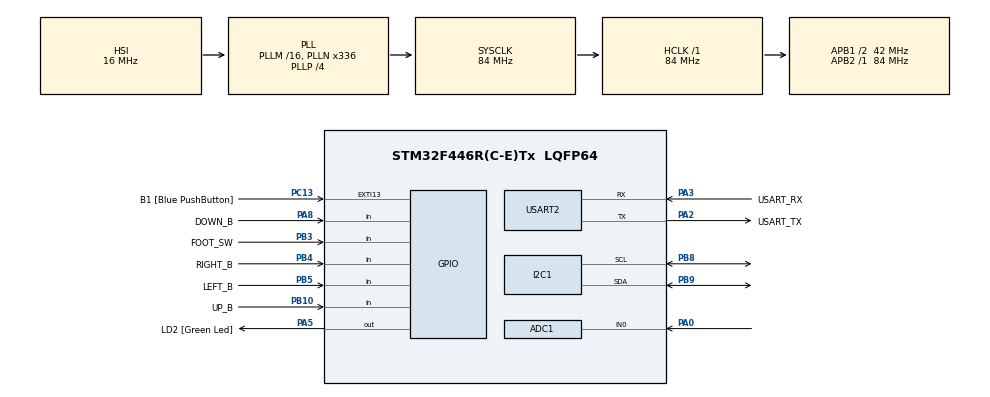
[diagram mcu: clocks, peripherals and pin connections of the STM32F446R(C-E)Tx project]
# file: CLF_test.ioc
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ADC1.Channel-0\#ChannelRegularConversion=ADC_CHANNEL_0
ADC1.ContinuousConvMode=ENABLE
ADC1.NbrOfConversionFlag=1
ADC1.Rank-0\#ChannelRegularConversion=1
ADC1.SamplingTime-0\#ChannelRegularConversion=ADC_SAMPLETIME_480CYCLES
ADC1.ScanConvMode=ENABLE
ADC1.master=1
Dma.ADC1.0.Direction=DMA_PERIPH_TO_MEMORY
Dma.ADC1.0.FIFOMode=DMA_FIFOMODE_DISABLE
Dma.ADC1.0.Instance=DMA2_Stream0
Dma.ADC1.0.MemDataAlignment=DMA_MDATAALIGN_HALFWORD
Dma.ADC1.0.MemInc=DMA_MINC_ENABLE
Dma.ADC1.0.Mode=DMA_CIRCULAR
Dma.ADC1.0.PeriphDataAlignment=DMA_PDATAALIGN_HALFWORD
Dma.ADC1.0.PeriphInc=DMA_PINC_DISABLE
Dma.ADC1.0.Priority=DMA_PRIORITY_LOW
Dma.Request0=ADC1
Mcu.Family=STM32F4
Mcu.Name=STM32F446R(C-E)Tx
Mcu.Package=LQFP64
NVIC.DMA2_Stream0_IRQn=true\:0\:0\:false\:false\:true\:false\:true
NVIC.PriorityGroup=NVIC_PRIORITYGROUP_0
NVIC.TIM2_IRQn=true\:0\:0\:false\:false\:true\:true\:true
PA0-WKUP.Signal=ADCx_IN0
PA13.GPIO_Label=TMS
PA13.Mode=Serial_Wire
PA13.Signal=SYS_JTMS-SWDIO
PA14.GPIO_Label=TCK
PA14.Mode=Serial_Wire
PA14.Signal=SYS_JTCK-SWCLK
PA2.GPIO_Label=USART_TX
PA2.Mode=Asynchronous
PA2.Signal=USART2_TX
PA3.GPIO_Label=USART_RX
PA3.Mode=Asynchronous
PA3.Signal=USART2_RX
PA5.GPIO_Label=LD2 [Green Led]
PA5.Signal=GPIO_Output
PA8.GPIO_Label=DOWN_B
PA8.GPIO_PuPd=GPIO_PULLUP
PA8.Signal=GPIO_Input
PB10.GPIO_Label=UP_B
PB10.GPIO_PuPd=GPIO_PULLUP
PB10.Signal=GPIO_Input
PB3.GPIO_Label=FOOT_SW
PB3.GPIO_PuPd=GPIO_PULLUP
PB3.Signal=GPIO_Input
PB4.GPIO_Label=RIGHT_B
PB4.GPIO_PuPd=GPIO_PULLUP
PB4.Signal=GPIO_Input
PB5.GPIO_Label=LEFT_B
PB5.GPIO_PuPd=GPIO_PULLUP
PB5.Signal=GPIO_Input
PB8.Mode=I2C
PB8.Signal=I2C1_SCL
PB9.Mode=I2C
PB9.Signal=I2C1_SDA
PC13.GPIO_Label=B1 [Blue PushButton]
PC13.GPIO_ModeDefaultEXTI=GPIO_MODE_IT_FALLING
PC13.Signal=GPXTI13
PC14-OSC32_IN.Mode=LSE-External-Oscillator
PC14-OSC32_IN.Signal=RCC_OSC32_IN
PC15-OSC32_OUT.Mode=LSE-External-Oscillator
PC15-OSC32_OUT.Signal=RCC_OSC32_OUT
PH0-OSC_IN.Mode=HSE-External-Oscillator
PH0-OSC_IN.Signal=RCC_OSC_IN
PH1-OSC_OUT.Mode=HSE-External-Oscillator
PH1-OSC_OUT.Signal=RCC_OSC_OUT
ProjectManager.HeapSize=0x200
ProjectManager.StackSize=0x400
ProjectManager.TargetToolchain=STM32CubeIDE
RCC.48MHZClocksFreq_Value=84000000
RCC.AHBFreq_Value=84000000
RCC.APB1CLKDivider=RCC_HCLK_DIV2
RCC.APB1Freq_Value=42000000
RCC.APB1TimFreq_Value=84000000
RCC.APB2Freq_Value=84000000
RCC.APB2TimFreq_Value=84000000
RCC.CortexFreq_Value=84000000
RCC.FLatency-AdvancedSettings=FLASH_LATENCY_2
RCC.HCLKFreq_Value=84000000
RCC.HSE_VALUE=8000000
RCC.HSI_VALUE=16000000
RCC.PLLN=336
RCC.PLLP=RCC_PLLP_DIV4
RCC.SYSCLKFreq_VALUE=84000000
RCC.SYSCLKSource=RCC_SYSCLKSOURCE_PLLCLK
RCC.USBFreq_Value=168000000
RCC.VCOOutputFreq_Value=336000000
SH.ADCx_IN0.0=ADC1_IN0,IN0
TIM2.Period=999
TIM2.Prescaler=83
USART2.VirtualMode=VM_ASYNC
VP_TIM2_VS_ClockSourceINT.Mode=Internal
board=NUCLEO-F446RE

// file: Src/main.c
/* USER CODE BEGIN Header */
/**
  ******************************************************************************
  * @file           : main.c
  * @brief          : Main program body
  ******************************************************************************
  * @attention
  *
  * <h2><center>&copy; Copyright (c) 2019 STMicroelectronics.
  * All rights reserved.</center></h2>
  *
  * This software component is licensed by ST under BSD 3-Clause license,
  * the "License"; You may not use this file except in compliance with the
  * License. You may obtain a copy of the License at:
  *                        opensource.org/licenses/BSD-3-Clause
  *
  ******************************************************************************
  */
/* USER CODE END Header */

#include "main.h"

/* USER CODE BEGIN Includes */
#include <stdio.h>
#include <math.h>
#include "ssd1306.h"
#include "fonts.h"
/* USER CODE END Includes */

ADC_HandleTypeDef hadc1;
DMA_HandleTypeDef hdma_adc1;

I2C_HandleTypeDef hi2c1;

TIM_HandleTypeDef htim2;

UART_HandleTypeDef huart2;

/* USER CODE BEGIN PV */
uint16_t adcValue[2];
long tim2_count=0;
float NormalizeParameter[2];
float threshold = 70;
float duration = 10;
float phase = 0;
float phase_ms = 0;
float inactive_time = 0;
float mode = 2;
/* USER CODE END PV */

void SystemClock_Config(void);
static void MX_GPIO_Init(void);
static void MX_DMA_Init(void);
static void MX_ADC1_Init(void);
static void MX_I2C1_Init(void);
static void MX_TIM2_Init(void);
static void MX_USART2_UART_Init(void);
/* USER CODE BEGIN PFP */
void HAL_TIM_PeriodElapsedCallback(TIM_HandleTypeDef *htim);
void SetUpNormalizeParameter(float NormalizeParameter[2]);
void DrawParameter(int count);
void UserSetUp(void);
/* USER CODE END PFP */

int main(void)
{
  /* USER CODE BEGIN 1 */
	  char buf[32] = {};
  /* USER CODE END 1 */

  /* MCU Configuration--------------------------------------------------------*/

  /* Reset of all peripherals, Initializes the Flash interface and the Systick. */
  HAL_Init();

  /* Configure the system clock */
  SystemClock_Config();

  /* Initialize all configured peripherals */
  MX_GPIO_Init();
  MX_DMA_Init();
  MX_ADC1_Init();
  MX_I2C1_Init();
  MX_TIM2_Init();
  MX_USART2_UART_Init();
  /* USER CODE BEGIN 2 */
  ssd1306_Init();

  HAL_ADC_Start_DMA(&hadc1,(uint32_t *)adcValue,2);

  STARTUP_LABEL:
  UserSetUp();

  SetUpNormalizeParameter(NormalizeParameter);
  RESTART_LABEL:

/*------------Draw LCD BEGIN----------*/
  sprintf(buf, "ave=%d sd=%d", (int)(NormalizeParameter[0]),(int)(NormalizeParameter[1]));
  HAL_UART_Transmit(&huart2, (uint8_t*)buf, sizeof(buf), 0xFFF);

  ssd1306_Fill(White);

  ssd1306_SetCursor(0,0);
  ssd1306_WriteString(buf,Font_7x10,Black);

  sprintf(buf, "Waiting for start");
  ssd1306_SetCursor(0,12);
  ssd1306_WriteString(buf,Font_7x10,Black);

  ssd1306_UpdateScreen();
  /*------------Draw LCD END---------*/

  while(1){
	  if(HAL_GPIO_ReadPin(GPIOB, FOOT_SW_Pin) == 1){
		  if(HAL_GPIO_ReadPin(GPIOB, FOOT_SW_Pin) == 0){
			  ssd1306_Fill(White);
			  sprintf(buf, "RUNNING");
			  ssd1306_SetCursor(0,0);
			  ssd1306_WriteString(buf,Font_7x10,Black);
			  ssd1306_UpdateScreen();
			  HAL_Delay(300);
			  break;
		  }
	  }
  }

  HAL_TIM_Base_Start_IT(&htim2);
  /* USER CODE END 2 */

  /* Infinite loop */
  while (1)
  {

    /* USER CODE BEGIN 3 */
	  if(HAL_GPIO_ReadPin(GPIOB, FOOT_SW_Pin) == 1){
		  if(HAL_GPIO_ReadPin(GPIOB, FOOT_SW_Pin) == 0){
			  HAL_TIM_Base_Stop_IT(&htim2); //stop timer interrupt
			  HAL_Delay(300);
			  HAL_GPIO_WritePin(LD2_GPIO_Port,LD2_Pin,RESET);
			  goto RESTART_LABEL;
		  }
	  }else if(HAL_GPIO_ReadPin(GPIOB, RIGHT_B_Pin) == 0){
		  HAL_TIM_Base_Stop_IT(&htim2); //stop timer interrupt
		  HAL_Delay(300);
		  HAL_GPIO_WritePin(LD2_GPIO_Port,LD2_Pin,RESET);
		  goto STARTUP_LABEL;
	 }
  }
  /* USER CODE END 3 */
}

void SystemClock_Config(void)
{
  RCC_OscInitTypeDef RCC_OscInitStruct = {0};
  RCC_ClkInitTypeDef RCC_ClkInitStruct = {0};

  /** Configure the main internal regulator output voltage
  */
  __HAL_RCC_PWR_CLK_ENABLE();
  __HAL_PWR_VOLTAGESCALING_CONFIG(PWR_REGULATOR_VOLTAGE_SCALE3);
  /** Initializes the CPU, AHB and APB busses clocks
  */
  RCC_OscInitStruct.OscillatorType = RCC_OSCILLATORTYPE_HSI;
  RCC_OscInitStruct.HSIState = RCC_HSI_ON;
  RCC_OscInitStruct.HSICalibrationValue = RCC_HSICALIBRATION_DEFAULT;
  RCC_OscInitStruct.PLL.PLLState = RCC_PLL_ON;
  RCC_OscInitStruct.PLL.PLLSource = RCC_PLLSOURCE_HSI;
  RCC_OscInitStruct.PLL.PLLM = 16;
  RCC_OscInitStruct.PLL.PLLN = 336;
  RCC_OscInitStruct.PLL.PLLP = RCC_PLLP_DIV4;
  RCC_OscInitStruct.PLL.PLLQ = 2;
  RCC_OscInitStruct.PLL.PLLR = 2;
  if (HAL_RCC_OscConfig(&RCC_OscInitStruct) != HAL_OK)
  {
    Error_Handler();
  }
  /** Initializes the CPU, AHB and APB busses clocks
  */
  RCC_ClkInitStruct.ClockType = RCC_CLOCKTYPE_HCLK|RCC_CLOCKTYPE_SYSCLK
                              |RCC_CLOCKTYPE_PCLK1|RCC_CLOCKTYPE_PCLK2;
  RCC_ClkInitStruct.SYSCLKSource = RCC_SYSCLKSOURCE_PLLCLK;
  RCC_ClkInitStruct.AHBCLKDivider = RCC_SYSCLK_DIV1;
  RCC_ClkInitStruct.APB1CLKDivider = RCC_HCLK_DIV2;
  RCC_ClkInitStruct.APB2CLKDivider = RCC_HCLK_DIV1;

  if (HAL_RCC_ClockConfig(&RCC_ClkInitStruct, FLASH_LATENCY_2) != HAL_OK)
  {
    Error_Handler();
  }
}

static void MX_ADC1_Init(void)
{

  ADC_ChannelConfTypeDef sConfig = {0};

  /** Configure the global features of the ADC (Clock, Resolution, Data Alignment and number of conversion)
  */
  hadc1.Instance = ADC1;
  hadc1.Init.ClockPrescaler = ADC_CLOCK_SYNC_PCLK_DIV4;
  hadc1.Init.Resolution = ADC_RESOLUTION_12B;
  hadc1.Init.ScanConvMode = ENABLE;
  hadc1.Init.ContinuousConvMode = ENABLE;
  hadc1.Init.DiscontinuousConvMode = DISABLE;
  hadc1.Init.ExternalTrigConvEdge = ADC_EXTERNALTRIGCONVEDGE_NONE;
  hadc1.Init.ExternalTrigConv = ADC_SOFTWARE_START;
  hadc1.Init.DataAlign = ADC_DATAALIGN_RIGHT;
  hadc1.Init.NbrOfConversion = 1;
  hadc1.Init.DMAContinuousRequests = DISABLE;
  hadc1.Init.EOCSelection = ADC_EOC_SINGLE_CONV;
  if (HAL_ADC_Init(&hadc1) != HAL_OK)
  {
    Error_Handler();
  }
  /** Configure for the selected ADC regular channel its corresponding rank in the sequencer and its sample time.
  */
  sConfig.Channel = ADC_CHANNEL_0;
  sConfig.Rank = 1;
  sConfig.SamplingTime = ADC_SAMPLETIME_480CYCLES;
  if (HAL_ADC_ConfigChannel(&hadc1, &sConfig) != HAL_OK)
  {
    Error_Handler();
  }
  /* USER CODE BEGIN ADC1_Init 2 */
  hadc1.Init.DMAContinuousRequests = ENABLE;
  if (HAL_ADC_Init(&hadc1) != HAL_OK)
  {
    Error_Handler();
  }
  /* USER CODE END ADC1_Init 2 */

}

static void MX_I2C1_Init(void)
{

  hi2c1.Instance = I2C1;
  hi2c1.Init.ClockSpeed = 100000;
  hi2c1.Init.DutyCycle = I2C_DUTYCYCLE_2;
  hi2c1.Init.OwnAddress1 = 0;
  hi2c1.Init.AddressingMode = I2C_ADDRESSINGMODE_7BIT;
  hi2c1.Init.DualAddressMode = I2C_DUALADDRESS_DISABLE;
  hi2c1.Init.OwnAddress2 = 0;
  hi2c1.Init.GeneralCallMode = I2C_GENERALCALL_DISABLE;
  hi2c1.Init.NoStretchMode = I2C_NOSTRETCH_DISABLE;
  if (HAL_I2C_Init(&hi2c1) != HAL_OK)
  {
    Error_Handler();
  }

}

static void MX_TIM2_Init(void)
{

  TIM_ClockConfigTypeDef sClockSourceConfig = {0};
  TIM_MasterConfigTypeDef sMasterConfig = {0};

  htim2.Instance = TIM2;
  htim2.Init.Prescaler = 83;
  htim2.Init.CounterMode = TIM_COUNTERMODE_UP;
  htim2.Init.Period = 999;
  htim2.Init.ClockDivision = TIM_CLOCKDIVISION_DIV1;
  htim2.Init.AutoReloadPreload = TIM_AUTORELOAD_PRELOAD_DISABLE;
  if (HAL_TIM_Base_Init(&htim2) != HAL_OK)
  {
    Error_Handler();
  }
  sClockSourceConfig.ClockSource = TIM_CLOCKSOURCE_INTERNAL;
  if (HAL_TIM_ConfigClockSource(&htim2, &sClockSourceConfig) != HAL_OK)
  {
    Error_Handler();
  }
  sMasterConfig.MasterOutputTrigger = TIM_TRGO_RESET;
  sMasterConfig.MasterSlaveMode = TIM_MASTERSLAVEMODE_DISABLE;
  if (HAL_TIMEx_MasterConfigSynchronization(&htim2, &sMasterConfig) != HAL_OK)
  {
    Error_Handler();
  }

}

static void MX_USART2_UART_Init(void)
{

  huart2.Instance = USART2;
  huart2.Init.BaudRate = 115200;
  huart2.Init.WordLength = UART_WORDLENGTH_8B;
  huart2.Init.StopBits = UART_STOPBITS_1;
  huart2.Init.Parity = UART_PARITY_NONE;
  huart2.Init.Mode = UART_MODE_TX_RX;
  huart2.Init.HwFlowCtl = UART_HWCONTROL_NONE;
  huart2.Init.OverSampling = UART_OVERSAMPLING_16;
  if (HAL_UART_Init(&huart2) != HAL_OK)
  {
    Error_Handler();
  }

}

static void MX_DMA_Init(void)
{

  /* DMA controller clock enable */
  __HAL_RCC_DMA2_CLK_ENABLE();

  /* DMA interrupt init */
  /* DMA2_Stream0_IRQn interrupt configuration */
  HAL_NVIC_SetPriority(DMA2_Stream0_IRQn, 0, 0);
  HAL_NVIC_EnableIRQ(DMA2_Stream0_IRQn);

}

static void MX_GPIO_Init(void)
{
  GPIO_InitTypeDef GPIO_InitStruct = {0};

  /* GPIO Ports Clock Enable */
  __HAL_RCC_GPIOC_CLK_ENABLE();
  __HAL_RCC_GPIOH_CLK_ENABLE();
  __HAL_RCC_GPIOA_CLK_ENABLE();
  __HAL_RCC_GPIOB_CLK_ENABLE();

  /*Configure GPIO pin Output Level */
  HAL_GPIO_WritePin(LD2_GPIO_Port, LD2_Pin, GPIO_PIN_RESET);

  /*Configure GPIO pin : B1_Pin */
  GPIO_InitStruct.Pin = B1_Pin;
  GPIO_InitStruct.Mode = GPIO_MODE_IT_FALLING;
  GPIO_InitStruct.Pull = GPIO_NOPULL;
  HAL_GPIO_Init(B1_GPIO_Port, &GPIO_InitStruct);

  /*Configure GPIO pin : LD2_Pin */
  GPIO_InitStruct.Pin = LD2_Pin;
  GPIO_InitStruct.Mode = GPIO_MODE_OUTPUT_PP;
  GPIO_InitStruct.Pull = GPIO_NOPULL;
  GPIO_InitStruct.Speed = GPIO_SPEED_FREQ_LOW;
  HAL_GPIO_Init(LD2_GPIO_Port, &GPIO_InitStruct);

  /*Configure GPIO pins : UP_B_Pin FOOT_SW_Pin RIGHT_B_Pin LEFT_B_Pin */
  GPIO_InitStruct.Pin = UP_B_Pin|FOOT_SW_Pin|RIGHT_B_Pin|LEFT_B_Pin;
  GPIO_InitStruct.Mode = GPIO_MODE_INPUT;
  GPIO_InitStruct.Pull = GPIO_PULLUP;
  HAL_GPIO_Init(GPIOB, &GPIO_InitStruct);

  /*Configure GPIO pin : DOWN_B_Pin */
  GPIO_InitStruct.Pin = DOWN_B_Pin;
  GPIO_InitStruct.Mode = GPIO_MODE_INPUT;
  GPIO_InitStruct.Pull = GPIO_PULLUP;
  HAL_GPIO_Init(DOWN_B_GPIO_Port, &GPIO_InitStruct);

}

/* USER CODE BEGIN 4 */
void HAL_TIM_PeriodElapsedCallback(TIM_HandleTypeDef *htim){
	static long phase_tim=0;
	static int phase_flag = 0;
	static float d1;
	static float d2;
	static float d3;
	if(htim->Instance == TIM2){
		d1 = d2;
		d2 = d3;
		d3 = (adcValue[0] - NormalizeParameter[0])/ NormalizeParameter[1];
		if(d2 > threshold/100.0f && d1 < d2 && d2 > d3 && tim2_count > 100 && tim2_count > inactive_time && ((int)mode % 2) == 0){ //peak detect
			//HAL_GPIO_WritePin(LD2_GPIO_Port,LD2_Pin,SET);
			tim2_count = 0;
			phase_flag = 1;
			phase_tim = 0;

		}else if(d2 < threshold/100.0f && d1 > d2 && d2 < d3 && tim2_count > 100 && tim2_count > inactive_time && ((int)mode % 2) == 1){ //trough detect
			//HAL_GPIO_WritePin(LD2_GPIO_Port,LD2_Pin,SET);
			tim2_count = 0;
			phase_flag = 1;
			phase_tim = 0;

		}

		if(HAL_GPIO_ReadPin(LD2_GPIO_Port, LD2_Pin) == 0 && phase_flag == 1 && phase_tim > phase_ms){ //phase passed
			HAL_GPIO_WritePin(LD2_GPIO_Port,LD2_Pin,SET);
		}else if(phase_flag == 1 && phase_tim > phase_ms + duration){ //phase+duration passed
			HAL_GPIO_WritePin(LD2_GPIO_Port,LD2_Pin,RESET);
			phase_flag = 0;
			phase_tim = 0;
		}
	}
	tim2_count++;
	phase_tim++;
}

void SetUpNormalizeParameter(float NormalizeParameter[2]){
	float data[4096] = {0};
	long sum = 0;
	for(int i = 0; i < 4096; i++){
		data[i] = adcValue[0];
		sum += data[i];
		HAL_Delay(1);
	}
	NormalizeParameter[0] = sum/4096.0f;
	sum = 0;
	for(int i = 0; i < 4096; i++){
		sum += pow(data[i] - NormalizeParameter[0],2);
	}
	NormalizeParameter[1] = pow(sum/4096.0f,0.5);
}

void DrawParameter(int count){
	char buf[32] = {};

	ssd1306_Fill(White);

	ssd1306_SetCursor(0,0);
	sprintf(buf,"%sth=%d [%%]",count==0?"*":" ", (int)threshold);
	ssd1306_WriteString(buf,Font_7x10,Black);

	ssd1306_SetCursor(0,12);
	sprintf(buf,"%sdu=%d [ms]",count==1?"*":" ", (int)duration);
	ssd1306_WriteString(buf,Font_7x10,Black);

	ssd1306_SetCursor(0,24);
	sprintf(buf,"%sph=%d [deg]",count==2?"*":" ", (int)phase);
	ssd1306_WriteString(buf,Font_7x10,Black);

	ssd1306_SetCursor(0,36);
	sprintf(buf,"%sinactive=%d [ms]",count==3?"*":" ", (int)inactive_time);
	ssd1306_WriteString(buf,Font_7x10,Black);

	ssd1306_SetCursor(0,48);
	sprintf(buf,"%smode=%s ",count==4?"*":" ",  ((int)mode % 2) == 1 ? "trough":"peak");
	ssd1306_WriteString(buf,Font_7x10,Black);

	ssd1306_UpdateScreen();
}
void UserSetUp(void){

	  char buf[32] = {};
	  int count = 0;
	  float *param_pointer;
	  param_pointer = &threshold;

	  ssd1306_Fill(White);
	  ssd1306_UpdateScreen();
	  DrawParameter(0);

	  while(1){
		if(HAL_GPIO_ReadPin(GPIOB, UP_B_Pin) == 0){ //UP button
			switch(count){
				case 0:
					*param_pointer += 1.0f; //change value of destination of pointer
					break;
				case 2:
					*param_pointer += 10.0f;
					break;
				case 3:
					*param_pointer += 100.0f;
					break;
				default:
					*param_pointer += 1.0f;
					break;
			}
			DrawParameter(count);

		}else if(HAL_GPIO_ReadPin(DOWN_B_GPIO_Port, DOWN_B_Pin) == 0){ //down button
			switch(count){
				case 0:
					*param_pointer -= 1.0f;
					break;
				case 2:
					*param_pointer -= 10.0f;
					break;
				case 3:
					*param_pointer -= 100.0f;
					break;
				default:
					*param_pointer -= 1.0f;
					break;
			}
			DrawParameter(count);

		}else if(HAL_GPIO_ReadPin(GPIOB, LEFT_B_Pin) == 0){ //left button pressed
			count++;
			switch(count){
				case 0:
					param_pointer = &threshold; //change pointer destination
					DrawParameter(count);
					break;
				case 1:
					param_pointer = &duration;
					DrawParameter(count);
					break;
				case 2:
					param_pointer = &phase;
					DrawParameter(count);
					break;
				case 3:
					param_pointer = &inactive_time;
					DrawParameter(count);
					break;
				case 4:
					param_pointer = &mode;
					DrawParameter(count);
					break;
				default:
					param_pointer = &threshold;
					count = 0;
					DrawParameter(count);
					break;
			}
			HAL_Delay(100);
		}else if(HAL_GPIO_ReadPin(GPIOB, RIGHT_B_Pin) == 0){
			sprintf(buf,"Setting Complete");
			ssd1306_Fill(White);
			ssd1306_SetCursor(0,0);
			ssd1306_WriteString(buf,Font_7x10,Black);

			sprintf(buf,"Waiting for Learning");
			ssd1306_SetCursor(0,12);
			ssd1306_WriteString(buf,Font_7x10,Black);

			ssd1306_UpdateScreen();
			HAL_Delay(500);
			break;
		}
	  }
	  while(1){
		  if(HAL_GPIO_ReadPin(GPIOB, RIGHT_B_Pin) == 0){
			  sprintf(buf,"Learning...");
			  ssd1306_Fill(White);
			  ssd1306_SetCursor(0,0);
			  ssd1306_WriteString(buf,Font_7x10,Black);
			  ssd1306_UpdateScreen();
			  break;
		  }
	  }
	  phase_ms = (phase/360.0f)*142.0f;
}
/* USER CODE END 4 */

void Error_Handler(void)
{
}

/************************ (C) COPYRIGHT STMicroelectronics *****END OF FILE****/
